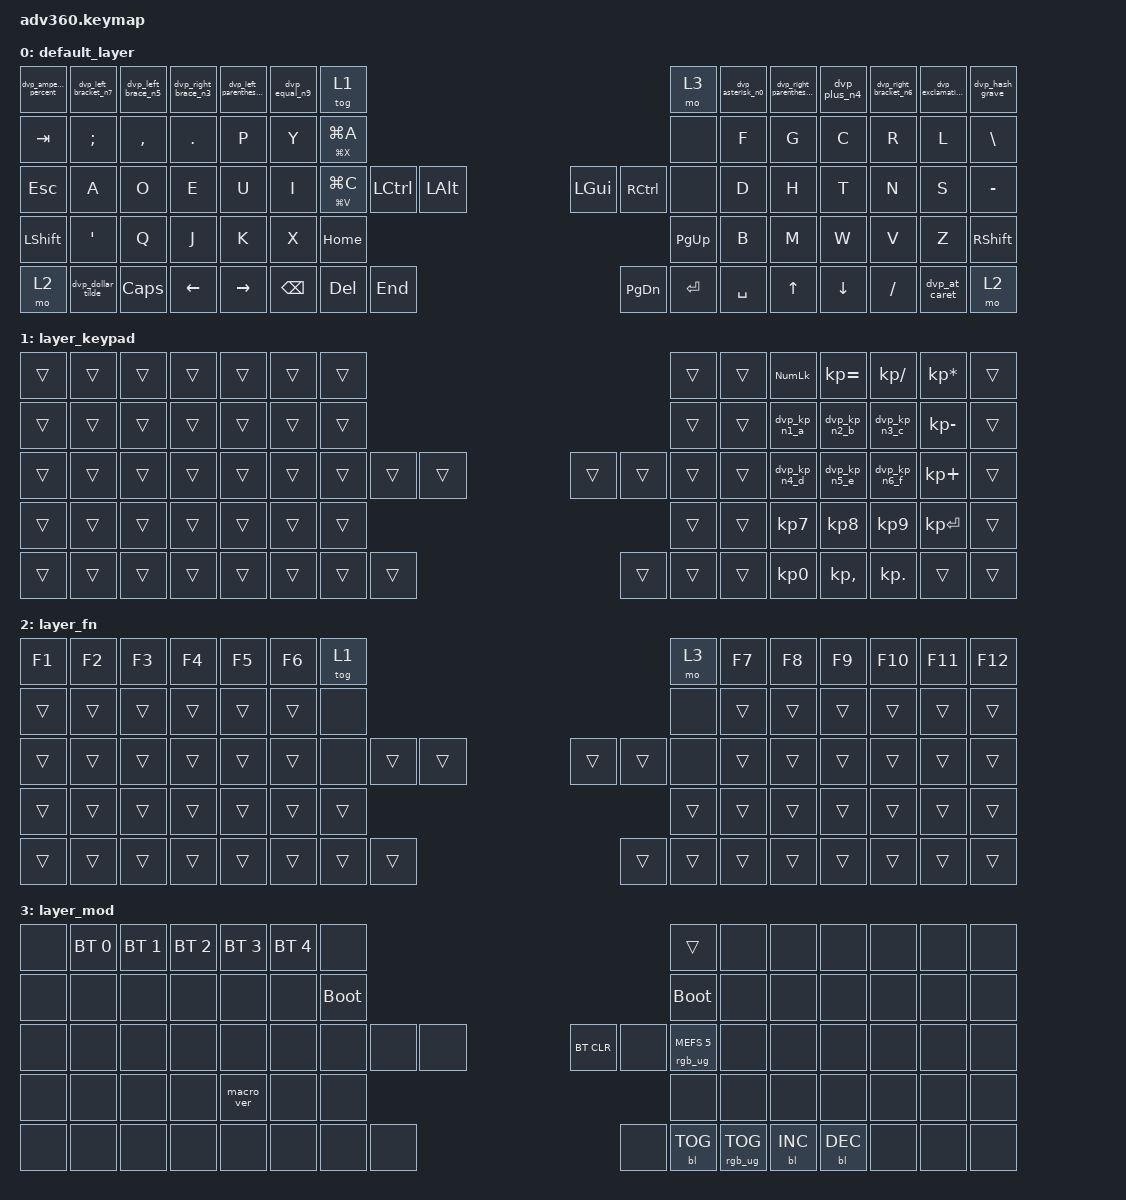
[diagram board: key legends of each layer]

/*
 * Copyright (c) 2020 The ZMK Contributors
 *
 * SPDX-License-Identifier: MIT
 */


/* THIS FILE WAS GENERATED!
 *
 * This file was generated automatically. You may or may not want to
 * edit it directly.
 */

#include <behaviors.dtsi>
#include <dt-bindings/zmk/keys.h>
#include <dt-bindings/zmk/bt.h>
#include <dt-bindings/zmk/rgb.h>
#include <dt-bindings/zmk/backlight.h>

/ {
  behaviors {
    #include "macros.dtsi"
    #include "version.dtsi"

    hm: homerow_mods {
        compatible = "zmk,behavior-hold-tap";
        label = "HOMEROW_MODS";
        #binding-cells = <2>;
        tapping-term-ms = <200>;
        quick_tap_ms = <175>;
        flavor = "tap-preferred";
        bindings = <&kp>, <&kp>;
    };

    cc0: copy_cut_0 {
        compatible = "zmk,behavior-tap-dance";
        #binding-cells = <0>;
        tapping-term-ms = <200>;
        bindings = <&kp LG(C)>, <&kp LG(X)>;
    };

    
  };

    keymap {
        compatible = "zmk,keymap";


        default_layer {
            bindings = <
 &dvp_ampersand_percent  &dvp_left_bracket_n7  &dvp_left_brace_n5  &dvp_right_brace_n3  &dvp_left_parenthesis_n1  &dvp_equal_n9              &tog 1                                                                 &mo 3  &dvp_asterisk_n0  &dvp_right_parenthesis_n2  &dvp_plus_n4  &dvp_right_bracket_n6  &dvp_exclamation_n8  &dvp_hash_grave
                &kp TAB         &kp SEMICOLON           &kp COMMA           &kp PERIOD                     &kp P          &kp Y               &mt LG(X) LG(A)                                                       &none             &kp F                      &kp G         &kp C                  &kp R                &kp L    &kp BACKSLASH
                &kp ESC                 &kp A               &kp O                &kp E                     &kp U          &kp I               &mt LG(V) LG(C)    &kp LCTRL  &kp LALT                   &kp LGUI  &kp RCTRL      &none             &kp D                      &kp H         &kp T                  &kp N                &kp S        &kp MINUS
              &kp LSHFT        &kp APOSTROPHE               &kp Q                &kp J                     &kp K          &kp X                                 &kp HOME                  &kp PG_UP                                   &kp B                      &kp M         &kp W                  &kp V                &kp Z        &kp RSHFT
                  &mo 2     &dvp_dollar_tilde            &kp CAPS             &kp LEFT                 &kp RIGHT                           &kp BSPC    &kp DEL   &kp END                  &kp PG_DN  &kp ENTER  &kp SPACE                                       &kp UP      &kp DOWN              &kp SLASH        &dvp_at_caret            &mo 2
            >;
        };

        layer_keypad {
            bindings = <
 &trans  &trans  &trans  &trans  &trans  &trans            &trans                                                  &trans  &trans    &kp KP_NUM  &kp KP_EQUAL  &kp KP_DIVIDE  &kp KP_MULTIPLY  &trans
 &trans  &trans  &trans  &trans  &trans  &trans            &trans                                                  &trans  &trans  &dvp_kp_n1_a  &dvp_kp_n2_b   &dvp_kp_n3_c     &kp KP_MINUS  &trans
 &trans  &trans  &trans  &trans  &trans  &trans            &trans  &trans  &trans                  &trans  &trans  &trans  &trans  &dvp_kp_n4_d  &dvp_kp_n5_e   &dvp_kp_n6_f      &kp KP_PLUS  &trans
 &trans  &trans  &trans  &trans  &trans  &trans                            &trans                  &trans                  &trans     &kp KP_N7     &kp KP_N8      &kp KP_N9     &kp KP_ENTER  &trans
 &trans  &trans  &trans  &trans  &trans                    &trans  &trans  &trans                  &trans  &trans  &trans             &kp KP_N0  &kp KP_COMMA     &kp KP_DOT           &trans  &trans
            >;
        };

        layer_fn {
            bindings = <
 &kp F1  &kp F2  &kp F3  &kp F4  &kp F5  &kp F6            &tog 1                                                   &mo 3  &kp F7  &kp F8  &kp F9  &kp F10  &kp F11  &kp F12
 &trans  &trans  &trans  &trans  &trans  &trans             &none                                                   &none  &trans  &trans  &trans   &trans   &trans   &trans
 &trans  &trans  &trans  &trans  &trans  &trans             &none  &trans  &trans                  &trans  &trans   &none  &trans  &trans  &trans   &trans   &trans   &trans
 &trans  &trans  &trans  &trans  &trans  &trans                            &trans                  &trans                  &trans  &trans  &trans   &trans   &trans   &trans
 &trans  &trans  &trans  &trans  &trans                    &trans  &trans  &trans                  &trans  &trans  &trans          &trans  &trans   &trans   &trans   &trans
            >;
        };

        layer_mod {
            bindings = <
  &none  &bt BT_SEL 0  &bt BT_SEL 1  &bt BT_SEL 2  &bt BT_SEL 3  &bt BT_SEL 4                  &none                                                                          &trans   &none       &none       &none   &none   &none   &none
  &none         &none         &none         &none         &none         &none            &bootloader                                                                     &bootloader   &none       &none       &none   &none   &none   &none
  &none         &none         &none         &none         &none         &none                  &none   &none   &none                  &bt BT_CLR       &none  &rgb_ug RGB_MEFS_CMD 5   &none       &none       &none   &none   &none   &none
  &none         &none         &none         &none    &macro_ver         &none                                  &none                       &none                                       &none       &none       &none   &none   &none   &none
  &none         &none         &none         &none         &none                                &none   &none   &none                       &none  &bl BL_TOG         &rgb_ug RGB_TOG          &bl BL_INC  &bl BL_DEC   &none   &none   &none
            >;
        };

    };
};
